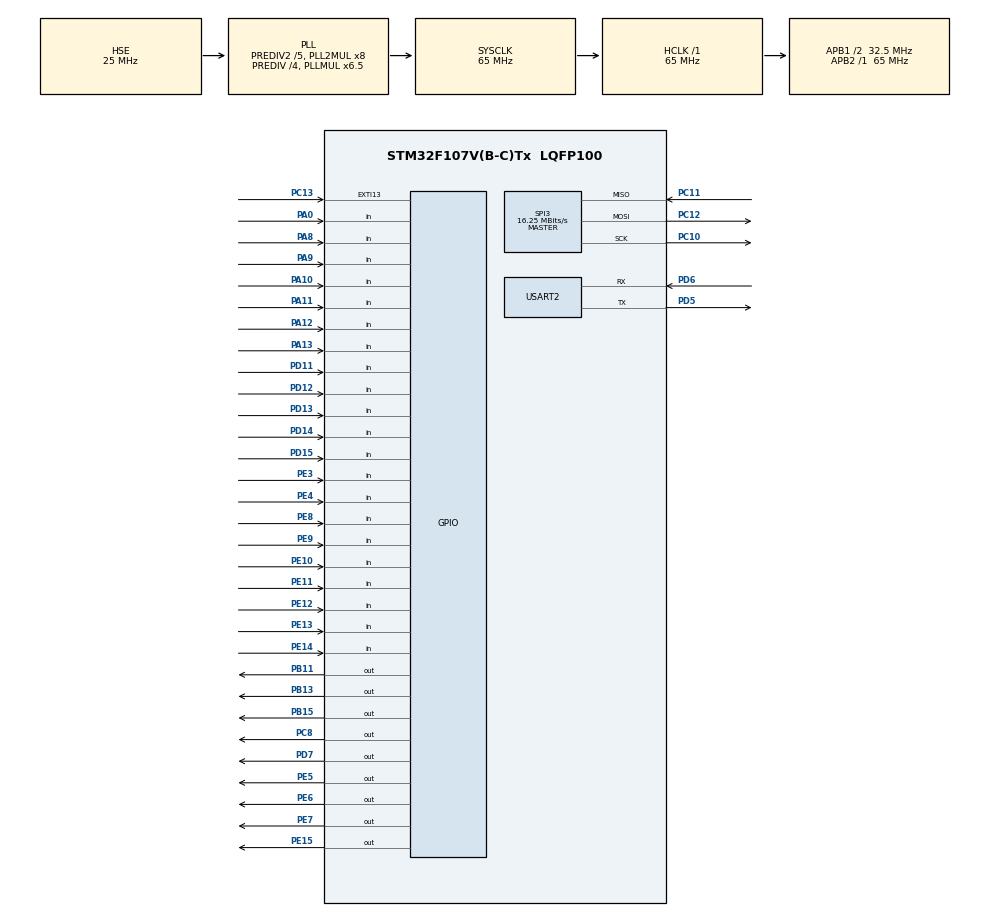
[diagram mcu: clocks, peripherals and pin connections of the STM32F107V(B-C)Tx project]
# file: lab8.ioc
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Mcu.Family=STM32F1
Mcu.Name=STM32F107V(B-C)Tx
Mcu.Package=LQFP100
NVIC.PriorityGroup=NVIC_PRIORITYGROUP_4
NVIC.TIM1_UP_IRQn=true\:1\:0\:true\:false\:true\:true
NVIC.TIM2_IRQn=true\:2\:0\:true\:false\:true\:true
OSC_IN.Mode=HSE-External-Oscillator
OSC_IN.Signal=RCC_OSC_IN
OSC_OUT.Mode=HSE-External-Oscillator
OSC_OUT.Signal=RCC_OSC_OUT
PA0-WKUP.Signal=GPIO_Input
PA10.Signal=GPIO_Input
PA11.Signal=GPIO_Input
PA12.Signal=GPIO_Input
PA13.Signal=GPIO_Input
PA8.Signal=GPIO_Input
PA9.Signal=GPIO_Input
PB11.GPIO_Speed=GPIO_SPEED_FREQ_HIGH
PB11.Signal=GPIO_Output
PB13.GPIO_Speed=GPIO_SPEED_FREQ_HIGH
PB13.Signal=GPIO_Output
PB15.GPIO_Speed=GPIO_SPEED_FREQ_HIGH
PB15.Signal=GPIO_Output
PC10.Mode=Full_Duplex_Master
PC10.Signal=SPI3_SCK
PC11.Mode=Full_Duplex_Master
PC11.Signal=SPI3_MISO
PC12.Mode=Full_Duplex_Master
PC12.Signal=SPI3_MOSI
PC13-TAMPER-RTC.Signal=GPXTI13
PC8.Signal=GPIO_Output
PD11.Signal=GPIO_Input
PD12.Signal=GPIO_Input
PD13.Signal=GPIO_Input
PD14.Signal=GPIO_Input
PD15.Signal=GPIO_Input
PD5.Mode=Asynchronous
PD5.Signal=USART2_TX
PD6.Mode=Asynchronous
PD6.Signal=USART2_RX
PD7.Signal=GPIO_Output
PE10.Signal=GPIO_Input
PE11.Signal=GPIO_Input
PE12.Signal=GPIO_Input
PE13.Signal=GPIO_Input
PE14.Signal=GPIO_Input
PE15.Signal=GPIO_Output
PE3.Signal=GPIO_Input
PE4.Signal=GPIO_Input
PE5.Signal=GPIO_Output
PE6.Signal=GPIO_Output
PE7.Signal=GPIO_Output
PE8.Signal=GPIO_Input
PE9.Signal=GPIO_Input
ProjectManager.HeapSize=0x200
ProjectManager.StackSize=0x400
ProjectManager.TargetToolchain=MDK-ARM V5
RCC.AHBFreq_Value=65000000
RCC.APB1CLKDivider=RCC_HCLK_DIV2
RCC.APB1Freq_Value=32500000
RCC.APB1TimFreq_Value=65000000
RCC.APB2Freq_Value=65000000
RCC.APB2TimFreq_Value=65000000
RCC.HCLKFreq_Value=65000000
RCC.HSEDivPLL=RCC_HSE_PREDIV_DIV4
RCC.HSE_VALUE=25000000
RCC.PLLMUL=RCC_PLL_MUL6_5
RCC.PLLSourceVirtual=RCC_PLLSOURCE_HSE
RCC.Prediv1Source=RCC_PREDIV1_SOURCE_PLL2
RCC.Prediv2=RCC_HSE_PREDIV2_DIV5
RCC.SYSCLKFreq_VALUE=65000000
RCC.SYSCLKSource=RCC_SYSCLKSOURCE_PLLCLK
RCC.USBFreq_Value=43333333.333333336
SPI3.CLKPhase=SPI_PHASE_2EDGE
SPI3.CLKPolarity=SPI_POLARITY_HIGH
SPI3.CalculateBaudRate=16.25 MBits/s
SPI3.Direction=SPI_DIRECTION_2LINES
SPI3.Mode=SPI_MODE_MASTER
SPI3.VirtualType=VM_MASTER
TIM1.Period=10000-1
TIM1.Prescaler=6500-1
TIM2.Period=10000-1
TIM2.Prescaler=7200-1
USART2.VirtualMode=VM_ASYNC
VP_SYS_VS_ND.Mode=No_Debug
VP_TIM1_VS_ClockSourceINT.Mode=Internal
VP_TIM2_VS_ClockSourceINT.Mode=Internal
board=lab8

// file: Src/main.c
/**
  ******************************************************************************
  * File Name          : main.c
  * Description        : Main program body
  ******************************************************************************
  ** This notice applies to any and all portions of this file
  * that are not between comment pairs USER CODE BEGIN and
  * USER CODE END. Other portions of this file, whether
  * inserted by the user or by software development tools
  * are owned by their respective copyright owners.
  *
  * COPYRIGHT(c) 2018 STMicroelectronics
  *
  * Redistribution and use in source and binary forms, with or without modification,
  * are permitted provided that the following conditions are met:
  *   1. Redistributions of source code must retain the above copyright notice,
  *      this list of conditions and the following disclaimer.
  *   2. Redistributions in binary form must reproduce the above copyright notice,
  *      this list of conditions and the following disclaimer in the documentation
  *      and/or other materials provided with the distribution.
  *   3. Neither the name of STMicroelectronics nor the names of its contributors
  *      may be used to endorse or promote products derived from this software
  *      without specific prior written permission.
  *
  * THIS SOFTWARE IS PROVIDED BY THE COPYRIGHT HOLDERS AND CONTRIBUTORS "AS IS"
  * AND ANY EXPRESS OR IMPLIED WARRANTIES, INCLUDING, BUT NOT LIMITED TO, THE
  * IMPLIED WARRANTIES OF MERCHANTABILITY AND FITNESS FOR A PARTICULAR PURPOSE ARE
  * DISCLAIMED. IN NO EVENT SHALL THE COPYRIGHT HOLDER OR CONTRIBUTORS BE LIABLE
  * FOR ANY DIRECT, INDIRECT, INCIDENTAL, SPECIAL, EXEMPLARY, OR CONSEQUENTIAL
  * DAMAGES (INCLUDING, BUT NOT LIMITED TO, PROCUREMENT OF SUBSTITUTE GOODS OR
  * SERVICES; LOSS OF USE, DATA, OR PROFITS; OR BUSINESS INTERRUPTION) HOWEVER
  * CAUSED AND ON ANY THEORY OF LIABILITY, WHETHER IN CONTRACT, STRICT LIABILITY,
  * OR TORT (INCLUDING NEGLIGENCE OR OTHERWISE) ARISING IN ANY WAY OUT OF THE USE
  * OF THIS SOFTWARE, EVEN IF ADVISED OF THE POSSIBILITY OF SUCH DAMAGE.
  *
  ******************************************************************************
  */

#include "main.h"
#include "stm32f1xx_hal.h"

/* USER CODE BEGIN Includes */
#include "et_stm32f_arm_kit_lcd.h"
#include <string.h>
/* USER CODE END Includes */

SPI_HandleTypeDef hspi3;

TIM_HandleTypeDef htim1;
TIM_HandleTypeDef htim2;

UART_HandleTypeDef huart2;

/* USER CODE BEGIN PV */
/* Private variables ---------------------------------------------------------*/
#define White 0xFFFF
#define Black 0x0000
#define Grey 0xF7DE
#define Grey2 0x8410
#define Grey3 0xCE79
#define Blue 0x001F
#define Blue2 0x051F
#define Blue3 0x041F
#define Blue4 0x07DFF
#define Red 0xF800
#define Magenta 0xF81F
#define Green 0x07E0
#define Green2 0x87F0
#define Cyan 0x7FFF
#define Yellow 0xFFE0
#define Yellow2 0xFFF0
#define Pink2 0xF810
#define Pink 0xFD5A
#define Purple 0xFC1F
#define Purple2 0xF81F
#define Orange 0xFC64
#define Orange2 0xFD62

//  void LCD_DrawFullFrame(uint8_t Xpos, uint16_t Ypos, uint8_t Height, uint16_t Width)

/* USER CODE END PV */

void SystemClock_Config(void);
static void MX_GPIO_Init(void);
static void MX_SPI3_Init(void);
static void MX_USART2_UART_Init(void);
static void MX_TIM1_Init(void);
static void MX_TIM2_Init(void);

/* USER CODE BEGIN PFP */
/* Private function prototypes -----------------------------------------------*/

/* USER CODE END PFP */

/* USER CODE BEGIN 0 */
uint32_t count;
uint16_t posX, posY;
char pos[50];
int x=0;
int y=1;
void DrawBomb(int Xpos,int Ypos);
void DrawKite(int Xpos,int Ypos);
void Draw0(int Xpos,int Ypos);
void Draw1(int Xpos,int Ypos);
void Draw2(int Xpos,int Ypos);
void Draw3(int Xpos,int Ypos);
void Draw4(int Xpos,int Ypos);
void Draw5(int Xpos,int Ypos);
void Draw6(int Xpos,int Ypos);
void Draw7(int Xpos,int Ypos);
void Draw8(int Xpos,int Ypos);
void Draw9(int Xpos,int Ypos);
void DrawFlag(int Xpos,int Ypos);
void Menu();
void Win();
void Lose();
//void DrawX(int Xpos,int Ypos,uint16_t color);
//void DrawShip(int Xpos,int Ypos,int numShip);
/* USER CODE END 0 */

int main(void)
{

  /* MCU Configuration----------------------------------------------------------*/

  /* Reset of all peripherals, Initializes the Flash interface and the Systick. */
  HAL_Init();

  /* Configure the system clock */
  SystemClock_Config();

  /* Initialize all configured peripherals */
  MX_GPIO_Init();
  MX_SPI3_Init();
  MX_USART2_UART_Init();
  MX_TIM1_Init();
  MX_TIM2_Init();

  /* USER CODE BEGIN 2 */

LCD_Setup();
//LCD_Clear(Blue2);
LCD_SetBackColor(Blue);
LCD_SetTextColor(Yellow);
//HAL_TIM_Base_Start_IT (&htim1);

  /* USER CODE END 2 */

  /* Infinite loop */
  while (1)
  {

  /* USER CODE BEGIN 3 */

	if((HAL_GPIO_ReadPin(GPIOE,GPIO_PIN_8) == GPIO_PIN_RESET)&&(HAL_GPIO_ReadPin(GPIOE,GPIO_PIN_9) == GPIO_PIN_RESET)) //State 0
	{  int ToDo=0;
		//Menu();
		if(HAL_GPIO_ReadPin(GPIOE,GPIO_PIN_10)==GPIO_PIN_SET)
			ToDo+=1;
		if(HAL_GPIO_ReadPin(GPIOE,GPIO_PIN_11)==GPIO_PIN_SET)
			ToDo+=2;
		if(HAL_GPIO_ReadPin(GPIOE,GPIO_PIN_12)==GPIO_PIN_SET)
			ToDo+=4;
		if(HAL_GPIO_ReadPin(GPIOE,GPIO_PIN_13)==GPIO_PIN_SET)
			ToDo+=8;
		if(HAL_GPIO_ReadPin(GPIOE,GPIO_PIN_14)==GPIO_PIN_SET)
			ToDo+=16;

		if(ToDo==1)
    {
		LCD_Clear(White);
			/*
		char ch[13] =  " MINESWEEPER " ;
		for (int j=0;j<13;j++)
		{LCD_SetBackColor(White);
      LCD_SetTextColor(Red);
			LCD_DisplayChar(Line3,16*(4+j),ch[12-j]);}
		char ch2[13] = "  -- GAME -- ";
		for (int j=0;j<13;j++)
			{LCD_SetBackColor(White);
      LCD_SetTextColor(Red);
			LCD_DisplayChar(Line4,16*(4+j),ch2[12-j]);}
			*/
			LCD_SetBackColor(Red);
      LCD_SetTextColor(Red);
			Menu();
			while(HAL_GPIO_ReadPin(GPIOE,GPIO_PIN_10)==1)
			{		char ch[15] = "PRESS JOY STICK";
		      for (int j=0;j<15;j++)
			    {LCD_SetBackColor(White);
          LCD_SetTextColor(Black);
			    LCD_DisplayChar(214,16*(3+j)+8,ch[14-j]);}
	      	for (int j=0;j<15;j++)
			    {LCD_SetBackColor(White);
           LCD_SetTextColor(Red);
			     LCD_DisplayChar(214,16*(3+j)+8,ch[14-j]);}

				 }

		}
		if(ToDo==2)
    {
			LCD_Clear(Blue2);
		char ch[13] =  " Select mode " ;
		for (int j=0;j<13;j++)
		{LCD_SetBackColor(White);
      LCD_SetTextColor(Red);
			LCD_DisplayChar(Line1,16*(4+j),ch[12-j]);}

			LCD_SetBackColor(Yellow);
			LCD_SetTextColor(Yellow);
			LCD_DrawFullRect(2*40, 8*40, 320, 40);
		char ch2[13] = " Easy - Left ";
		for (int j=0;j<13;j++)
			{LCD_SetBackColor(Yellow);
      LCD_SetTextColor(Black);
			LCD_DisplayChar(90,16*(8+j),ch2[12-j]);}
			DrawBomb(2,3);
			Draw7(2,1);

			LCD_SetBackColor(Green2);
			LCD_SetTextColor(Green2);
			LCD_DrawFullRect(3*40, 8*40, 320, 40);
    char ch3[13] = " Medium - Up ";
		for (int j=0;j<13;j++)
			{LCD_SetBackColor(Green2);
      LCD_SetTextColor(Black);
			LCD_DisplayChar(130,16*(8+j),ch3[12-j]);}
			DrawBomb(3,3);
			Draw0(3,1);
			Draw1(3,2);

			LCD_SetBackColor(Red);
			LCD_SetTextColor(Red);
			LCD_DrawFullRect(4*40, 8*40, 320, 40);
    char ch4[13] = " Hard -Right ";
		for (int j=0;j<13;j++)
			{LCD_SetBackColor(Red);
      LCD_SetTextColor(White);
			LCD_DisplayChar(170,16*(8+j),ch4[12-j]);}
		DrawBomb(4,3);
			Draw5(4,1);
			Draw1(4,2);
		int level=0;

		while(1)
			{

		if (HAL_GPIO_ReadPin(GPIOE,GPIO_PIN_12)==1&&HAL_GPIO_ReadPin(GPIOE,GPIO_PIN_13)==0&&HAL_GPIO_ReadPin(GPIOE,GPIO_PIN_14)==0)
				{ level =1;
				break;}
		else if (HAL_GPIO_ReadPin(GPIOE,GPIO_PIN_12)==0&&HAL_GPIO_ReadPin(GPIOE,GPIO_PIN_13)==1&&HAL_GPIO_ReadPin(GPIOE,GPIO_PIN_14)==0)
				{ level =2;
				break;}
		else if (HAL_GPIO_ReadPin(GPIOE,GPIO_PIN_12)==0&&HAL_GPIO_ReadPin(GPIOE,GPIO_PIN_13)==0&&HAL_GPIO_ReadPin(GPIOE,GPIO_PIN_14)==1)
				{level =3;
				break;}
		if(HAL_GPIO_ReadPin(GPIOE,GPIO_PIN_10)==1&&HAL_GPIO_ReadPin(GPIOE,GPIO_PIN_9)==0)
			{	break;}

			}

		while(HAL_GPIO_ReadPin(GPIOE,GPIO_PIN_9)==0&&HAL_GPIO_ReadPin(GPIOE,GPIO_PIN_10)==0)
			{			}

		if (HAL_GPIO_ReadPin(GPIOE,GPIO_PIN_9)==1&&HAL_GPIO_ReadPin(GPIOE,GPIO_PIN_8)==0)
		{
		 LCD_Clear(Blue2);
		 for (int i = 0; i<6; i++)
		 {
			for (int j=1; j<7; j++)
			{

				LCD_SetBackColor(Grey);
				LCD_SetTextColor(Grey2);
				LCD_DrawFullRect(i*40, j*40, 40, 40);
				LCD_SetBackColor(Grey2);
			  LCD_SetTextColor(Grey2);
		  	LCD_DrawFullFrame(i*40+1,j*40-1,38,38);
				LCD_SetBackColor(Grey);
				LCD_SetTextColor(Grey2);
				LCD_DrawFullRect(i*40+6, j*40-6, 28, 28);
			}
		 }
     DrawBomb(1,7);
		 LCD_SetBackColor(White);
		 LCD_SetTextColor(Blue3);
		 LCD_DrawFullRect(2*40, 8*40, 80, 40);

		 if (level==1)
		 {Draw7(2,7);}
		 else if (level==2)
		 {Draw0(2,7);
		  Draw1(2,8);}
		 else if (level==3)
		 {Draw5(2,7);
		  Draw1(2,8);}
	  }

	 }
	}

	if((HAL_GPIO_ReadPin(GPIOE,GPIO_PIN_8) == GPIO_PIN_RESET)&&(HAL_GPIO_ReadPin(GPIOE,GPIO_PIN_9) == GPIO_PIN_SET))
	{

		int x=0,y=0,ToDo=0;

		//                   get x,y,ToDo
		if(HAL_GPIO_ReadPin(GPIOA,GPIO_PIN_8)==GPIO_PIN_SET)
			x+=1;
		if(HAL_GPIO_ReadPin(GPIOA,GPIO_PIN_9)==GPIO_PIN_SET)
			x+=2;
		if(HAL_GPIO_ReadPin(GPIOA,GPIO_PIN_10)==GPIO_PIN_SET)
			x+=4;
		if(HAL_GPIO_ReadPin(GPIOA,GPIO_PIN_11)==GPIO_PIN_SET)
			y+=1;
		if(HAL_GPIO_ReadPin(GPIOA,GPIO_PIN_12)==GPIO_PIN_SET)
			y+=2;
		if(HAL_GPIO_ReadPin(GPIOA,GPIO_PIN_13)==GPIO_PIN_SET)
			y+=4;
		if(HAL_GPIO_ReadPin(GPIOE,GPIO_PIN_10)==GPIO_PIN_SET)
			ToDo+=1;
		if(HAL_GPIO_ReadPin(GPIOE,GPIO_PIN_11)==GPIO_PIN_SET)
			ToDo+=2;
		if(HAL_GPIO_ReadPin(GPIOE,GPIO_PIN_12)==GPIO_PIN_SET)
			ToDo+=4;
		if(HAL_GPIO_ReadPin(GPIOE,GPIO_PIN_13)==GPIO_PIN_SET)
			ToDo+=8;
		if(HAL_GPIO_ReadPin(GPIOE,GPIO_PIN_14)==GPIO_PIN_SET)
			ToDo+=16;

		int temp =0;
		temp = x ;
		x = y ;
		y = 5-temp + 1;
		// test
		/*
		ToDo = 14;
		x=0;
		y=2;
		*/

		//										play
		if(ToDo==0)
		{

		//Space normal
				LCD_SetBackColor(Grey);
				LCD_SetTextColor(Grey2);
				LCD_DrawFullRect(x*40, y*40, 40, 40);
				LCD_SetBackColor(Grey2);
			  LCD_SetTextColor(Grey2);
		  	LCD_DrawFullFrame(x*40+1,y*40-1,38,38);
				LCD_SetBackColor(Grey);
				LCD_SetTextColor(Grey2);
				LCD_DrawFullRect(x*40+6, y*40-6, 28, 28);

	 }
		else if(ToDo==1)
		{
			//DrawSpace
			LCD_SetBackColor(Grey3);
			LCD_SetTextColor(Grey2);
			LCD_DrawFullRect(x*40+4, y*40-4, 32, 32);

		}
		else if(ToDo==2)
		{
			LCD_SetBackColor(Grey3);
			LCD_SetTextColor(Grey2);
			LCD_DrawFullRect(x*40+4, y*40-4, 32, 32);
			Draw0(x, y);
		}
		else if(ToDo==3)
		{
			LCD_SetBackColor(Grey3);
			LCD_SetTextColor(Grey2);
			LCD_DrawFullRect(x*40+4, y*40-4, 32, 32);
			Draw1(x, y);
		}
		else if(ToDo==4)
		{
			LCD_SetBackColor(Grey3);
			LCD_SetTextColor(Grey2);
			LCD_DrawFullRect(x*40+4, y*40-4, 32, 32);
			Draw2(x, y);
		}
		else if(ToDo==5)
		{
			LCD_SetBackColor(Grey3);
			LCD_SetTextColor(Grey2);
			LCD_DrawFullRect(x*40+4, y*40-4, 32, 32);
			Draw3(x, y);
		}
		else if(ToDo==6)
		{
			LCD_SetBackColor(Grey3);
			LCD_SetTextColor(Grey2);
			LCD_DrawFullRect(x*40+4, y*40-4, 32, 32);
			Draw4(x, y);
		}
		else if(ToDo==7)
		{
			LCD_SetBackColor(Grey3);
			LCD_SetTextColor(Grey2);
			LCD_DrawFullRect(x*40+4, y*40-4, 32, 32);
			Draw5(x, y);
		}
		else if(ToDo==8)
		{
			LCD_SetBackColor(Grey3);
			LCD_SetTextColor(Grey2);
			LCD_DrawFullRect(x*40+4, y*40-4, 32, 32);
			Draw6(x, y);
		}
		else if(ToDo==9)
		{
			LCD_SetBackColor(Grey3);
			LCD_SetTextColor(Grey2);
			LCD_DrawFullRect(x*40+4, y*40-4, 32, 32);
			Draw7(x, y);
		}
		else if(ToDo==10)
		{
			LCD_SetBackColor(Grey3);
			LCD_SetTextColor(Grey2);
			LCD_DrawFullRect(x*40+4, y*40-4, 32, 32);
			Draw8(x, y);
		}
		else if(ToDo==11)
		{
			LCD_SetBackColor(Grey3);
			LCD_SetTextColor(Grey2);
			LCD_DrawFullRect(x*40+4, y*40-4, 32, 32);
			Draw9(x, y);
		}

		else if(ToDo==12)
		{
			//Draw target
			LCD_SetBackColor(Red);
			LCD_SetTextColor(Red);
			LCD_DrawFullFrame(x*40+1,y*40-1,38,38);

		}
		else if(ToDo==13)
		{
			//delete target
			LCD_SetBackColor(Grey2);
			LCD_SetTextColor(Grey2);
			LCD_DrawFullFrame(x*40+1,y*40-1,38,38);
		}
		else if(ToDo==14)
		{
			// Flag
			DrawFlag(x, y);

		}
		else if(ToDo==15)
		{
			//Draw Bomb
			LCD_SetBackColor(Grey3);
			LCD_SetTextColor(Grey2);
			LCD_DrawFullRect(x*40, y*40, 40, 40);
			DrawBomb(x,y);
		}
		else if(ToDo==16)
		{
			//drawBomb red
			LCD_SetBackColor(Red);
			LCD_SetTextColor(Grey2);
			LCD_DrawFullRect(x*40, y*40, 40, 40);
			DrawBomb(x,y);
		}
		else if(ToDo==30)
		{ /*
			//num flag

				LCD_SetBackColor(White);
				LCD_SetTextColor(Blue3);
				LCD_DrawFullRect(3*40, 8*40, 80, 40);

			int num=0;
			//print num
			if(HAL_GPIO_ReadPin(GPIOA,GPIO_PIN_8)==GPIO_PIN_SET)
			num+=1;
		  if(HAL_GPIO_ReadPin(GPIOA,GPIO_PIN_9)==GPIO_PIN_SET)
			num+=2;
		  if(HAL_GPIO_ReadPin(GPIOA,GPIO_PIN_10)==GPIO_PIN_SET)
			num+=4;
			if(HAL_GPIO_ReadPin(GPIOA,GPIO_PIN_11)==GPIO_PIN_SET)
			num+=8;

			if (num/10==1)
			{
			  Draw1(3,8);
			}
			else
			{ Draw0(3,8);}
			num%=10;
			if (num==0)
			{ Draw0(3,7);}
			else if (num==1)
			{ Draw1(3,7);}
			else if (num==2)
			{ Draw2(3,7);}
			else if (num==3)
			{ Draw3(3,7);}
			else if (num==4)
			{ Draw4(3,7);}
			else if (num==5)
			{ Draw5(3,7);}
			else if (num==6)
			{ Draw6(3,7);}
			else if (num==7)
			{ Draw7(3,7);}
			else if (num==8)
			{ Draw8(3,7);}
			else if (num==9)
			{ Draw9(3,7);}

			*/
		}

	}
	if((HAL_GPIO_ReadPin(GPIOE,GPIO_PIN_8) == GPIO_PIN_SET)&&(HAL_GPIO_ReadPin(GPIOE,GPIO_PIN_9) == GPIO_PIN_RESET))
	{
		if(HAL_GPIO_ReadPin(GPIOE,GPIO_PIN_10) == 1)
		{
			LCD_SetBackColor(Red);
				LCD_SetTextColor(White);
			LCD_DisplayStringLine(Line1,"        You Lose    ");
		  Lose();
			while((HAL_GPIO_ReadPin(GPIOE,GPIO_PIN_8) == GPIO_PIN_SET)&&(HAL_GPIO_ReadPin(GPIOE,GPIO_PIN_9) == GPIO_PIN_RESET))
		{}
		}
		else if(HAL_GPIO_ReadPin(GPIOE,GPIO_PIN_10) == 0)
		{
			LCD_SetBackColor(Green);
				LCD_SetTextColor(Black);
			LCD_DisplayStringLine(Line1,"        You Win     ");
		Win();
		}
		while((HAL_GPIO_ReadPin(GPIOE,GPIO_PIN_8) == GPIO_PIN_SET)&&(HAL_GPIO_ReadPin(GPIOE,GPIO_PIN_9) == GPIO_PIN_RESET))
		{}

	}
  /*char str[20];
	sprintf(str,"\r%02d",input);
	LCD_SetBackColor(White);
	LCD_SetTextColor(Black);
  LCD_DisplayStringLine(Line4,str);
  HAL_Delay(50);*/

  }
  /* USER CODE END 3 */

}

/** System Clock Configuration
*/
void SystemClock_Config(void)
{

  RCC_OscInitTypeDef RCC_OscInitStruct;
  RCC_ClkInitTypeDef RCC_ClkInitStruct;

    /**Initializes the CPU, AHB and APB busses clocks
    */
  RCC_OscInitStruct.OscillatorType = RCC_OSCILLATORTYPE_HSE;
  RCC_OscInitStruct.HSEState = RCC_HSE_ON;
  RCC_OscInitStruct.HSEPredivValue = RCC_HSE_PREDIV_DIV4;
  RCC_OscInitStruct.HSIState = RCC_HSI_ON;
  RCC_OscInitStruct.Prediv1Source = RCC_PREDIV1_SOURCE_PLL2;
  RCC_OscInitStruct.PLL.PLLState = RCC_PLL_ON;
  RCC_OscInitStruct.PLL.PLLSource = RCC_PLLSOURCE_HSE;
  RCC_OscInitStruct.PLL.PLLMUL = RCC_PLL_MUL6_5;
  RCC_OscInitStruct.PLL2.PLL2State = RCC_PLL2_ON;
  RCC_OscInitStruct.PLL2.PLL2MUL = RCC_PLL2_MUL8;
  RCC_OscInitStruct.PLL2.HSEPrediv2Value = RCC_HSE_PREDIV2_DIV5;
  if (HAL_RCC_OscConfig(&RCC_OscInitStruct) != HAL_OK)
  {
    _Error_Handler(__FILE__, __LINE__);
  }

    /**Initializes the CPU, AHB and APB busses clocks
    */
  RCC_ClkInitStruct.ClockType = RCC_CLOCKTYPE_HCLK|RCC_CLOCKTYPE_SYSCLK
                              |RCC_CLOCKTYPE_PCLK1|RCC_CLOCKTYPE_PCLK2;
  RCC_ClkInitStruct.SYSCLKSource = RCC_SYSCLKSOURCE_PLLCLK;
  RCC_ClkInitStruct.AHBCLKDivider = RCC_SYSCLK_DIV1;
  RCC_ClkInitStruct.APB1CLKDivider = RCC_HCLK_DIV2;
  RCC_ClkInitStruct.APB2CLKDivider = RCC_HCLK_DIV1;

  if (HAL_RCC_ClockConfig(&RCC_ClkInitStruct, FLASH_LATENCY_2) != HAL_OK)
  {
    _Error_Handler(__FILE__, __LINE__);
  }

    /**Configure the Systick interrupt time
    */
  HAL_SYSTICK_Config(HAL_RCC_GetHCLKFreq()/1000);

    /**Configure the Systick
    */
  HAL_SYSTICK_CLKSourceConfig(SYSTICK_CLKSOURCE_HCLK);

    /**Configure the Systick interrupt time
    */
  __HAL_RCC_PLLI2S_ENABLE();

  /* SysTick_IRQn interrupt configuration */
  HAL_NVIC_SetPriority(SysTick_IRQn, 0, 0);
}

/* SPI3 init function */
static void MX_SPI3_Init(void)
{

  /* SPI3 parameter configuration*/
  hspi3.Instance = SPI3;
  hspi3.Init.Mode = SPI_MODE_MASTER;
  hspi3.Init.Direction = SPI_DIRECTION_2LINES;
  hspi3.Init.DataSize = SPI_DATASIZE_8BIT;
  hspi3.Init.CLKPolarity = SPI_POLARITY_HIGH;
  hspi3.Init.CLKPhase = SPI_PHASE_2EDGE;
  hspi3.Init.NSS = SPI_NSS_SOFT;
  hspi3.Init.BaudRatePrescaler = SPI_BAUDRATEPRESCALER_2;
  hspi3.Init.FirstBit = SPI_FIRSTBIT_MSB;
  hspi3.Init.TIMode = SPI_TIMODE_DISABLE;
  hspi3.Init.CRCCalculation = SPI_CRCCALCULATION_DISABLE;
  hspi3.Init.CRCPolynomial = 10;
  if (HAL_SPI_Init(&hspi3) != HAL_OK)
  {
    _Error_Handler(__FILE__, __LINE__);
  }

}

/* TIM1 init function */
static void MX_TIM1_Init(void)
{

  TIM_ClockConfigTypeDef sClockSourceConfig;
  TIM_MasterConfigTypeDef sMasterConfig;

  htim1.Instance = TIM1;
  htim1.Init.Prescaler = 6500-1;
  htim1.Init.CounterMode = TIM_COUNTERMODE_UP;
  htim1.Init.Period = 10000-1;
  htim1.Init.ClockDivision = TIM_CLOCKDIVISION_DIV1;
  htim1.Init.RepetitionCounter = 0;
  htim1.Init.AutoReloadPreload = TIM_AUTORELOAD_PRELOAD_DISABLE;
  if (HAL_TIM_Base_Init(&htim1) != HAL_OK)
  {
    _Error_Handler(__FILE__, __LINE__);
  }

  sClockSourceConfig.ClockSource = TIM_CLOCKSOURCE_INTERNAL;
  if (HAL_TIM_ConfigClockSource(&htim1, &sClockSourceConfig) != HAL_OK)
  {
    _Error_Handler(__FILE__, __LINE__);
  }

  sMasterConfig.MasterOutputTrigger = TIM_TRGO_RESET;
  sMasterConfig.MasterSlaveMode = TIM_MASTERSLAVEMODE_DISABLE;
  if (HAL_TIMEx_MasterConfigSynchronization(&htim1, &sMasterConfig) != HAL_OK)
  {
    _Error_Handler(__FILE__, __LINE__);
  }

}

/* TIM2 init function */
static void MX_TIM2_Init(void)
{

  TIM_ClockConfigTypeDef sClockSourceConfig;
  TIM_MasterConfigTypeDef sMasterConfig;

  htim2.Instance = TIM2;
  htim2.Init.Prescaler = 7200-1;
  htim2.Init.CounterMode = TIM_COUNTERMODE_UP;
  htim2.Init.Period = 10000-1;
  htim2.Init.ClockDivision = TIM_CLOCKDIVISION_DIV1;
  htim2.Init.AutoReloadPreload = TIM_AUTORELOAD_PRELOAD_DISABLE;
  if (HAL_TIM_Base_Init(&htim2) != HAL_OK)
  {
    _Error_Handler(__FILE__, __LINE__);
  }

  sClockSourceConfig.ClockSource = TIM_CLOCKSOURCE_INTERNAL;
  if (HAL_TIM_ConfigClockSource(&htim2, &sClockSourceConfig) != HAL_OK)
  {
    _Error_Handler(__FILE__, __LINE__);
  }

  sMasterConfig.MasterOutputTrigger = TIM_TRGO_RESET;
  sMasterConfig.MasterSlaveMode = TIM_MASTERSLAVEMODE_DISABLE;
  if (HAL_TIMEx_MasterConfigSynchronization(&htim2, &sMasterConfig) != HAL_OK)
  {
    _Error_Handler(__FILE__, __LINE__);
  }

}

/* USART2 init function */
static void MX_USART2_UART_Init(void)
{

  huart2.Instance = USART2;
  huart2.Init.BaudRate = 115200;
  huart2.Init.WordLength = UART_WORDLENGTH_8B;
  huart2.Init.StopBits = UART_STOPBITS_1;
  huart2.Init.Parity = UART_PARITY_NONE;
  huart2.Init.Mode = UART_MODE_TX_RX;
  huart2.Init.HwFlowCtl = UART_HWCONTROL_NONE;
  huart2.Init.OverSampling = UART_OVERSAMPLING_16;
  if (HAL_UART_Init(&huart2) != HAL_OK)
  {
    _Error_Handler(__FILE__, __LINE__);
  }

}

/** Configure pins as
        * Analog
        * Input
        * Output
        * EVENT_OUT
        * EXTI
*/
static void MX_GPIO_Init(void)
{

  GPIO_InitTypeDef GPIO_InitStruct;

  /* GPIO Ports Clock Enable */
  __HAL_RCC_GPIOE_CLK_ENABLE();
  __HAL_RCC_GPIOC_CLK_ENABLE();
  __HAL_RCC_GPIOA_CLK_ENABLE();
  __HAL_RCC_GPIOB_CLK_ENABLE();
  __HAL_RCC_GPIOD_CLK_ENABLE();

  /*Configure GPIO pin Output Level */
  HAL_GPIO_WritePin(GPIOE, GPIO_PIN_5|GPIO_PIN_6|GPIO_PIN_7|GPIO_PIN_15, GPIO_PIN_RESET);

  /*Configure GPIO pin Output Level */
  HAL_GPIO_WritePin(GPIOB, GPIO_PIN_11|GPIO_PIN_13|GPIO_PIN_15, GPIO_PIN_RESET);

  /*Configure GPIO pin Output Level */
  HAL_GPIO_WritePin(GPIOC, GPIO_PIN_8, GPIO_PIN_RESET);

  /*Configure GPIO pin Output Level */
  HAL_GPIO_WritePin(GPIOD, GPIO_PIN_7, GPIO_PIN_RESET);

  /*Configure GPIO pins : PE3 PE4 PE8 PE9
                           PE10 PE11 PE12 PE13
                           PE14 */
  GPIO_InitStruct.Pin = GPIO_PIN_3|GPIO_PIN_4|GPIO_PIN_8|GPIO_PIN_9
                          |GPIO_PIN_10|GPIO_PIN_11|GPIO_PIN_12|GPIO_PIN_13
                          |GPIO_PIN_14;
  GPIO_InitStruct.Mode = GPIO_MODE_INPUT;
  GPIO_InitStruct.Pull = GPIO_NOPULL;
  HAL_GPIO_Init(GPIOE, &GPIO_InitStruct);

  /*Configure GPIO pins : PE5 PE6 PE7 PE15 */
  GPIO_InitStruct.Pin = GPIO_PIN_5|GPIO_PIN_6|GPIO_PIN_7|GPIO_PIN_15;
  GPIO_InitStruct.Mode = GPIO_MODE_OUTPUT_PP;
  GPIO_InitStruct.Speed = GPIO_SPEED_FREQ_LOW;
  HAL_GPIO_Init(GPIOE, &GPIO_InitStruct);

  /*Configure GPIO pin : PC13 */
  GPIO_InitStruct.Pin = GPIO_PIN_13;
  GPIO_InitStruct.Mode = GPIO_MODE_IT_RISING;
  GPIO_InitStruct.Pull = GPIO_NOPULL;
  HAL_GPIO_Init(GPIOC, &GPIO_InitStruct);

  /*Configure GPIO pins : PA0 PA8 PA9 PA10
                           PA11 PA12 PA13 */
  GPIO_InitStruct.Pin = GPIO_PIN_0|GPIO_PIN_8|GPIO_PIN_9|GPIO_PIN_10
                          |GPIO_PIN_11|GPIO_PIN_12|GPIO_PIN_13;
  GPIO_InitStruct.Mode = GPIO_MODE_INPUT;
  GPIO_InitStruct.Pull = GPIO_NOPULL;
  HAL_GPIO_Init(GPIOA, &GPIO_InitStruct);

  /*Configure GPIO pins : PB11 PB13 PB15 */
  GPIO_InitStruct.Pin = GPIO_PIN_11|GPIO_PIN_13|GPIO_PIN_15;
  GPIO_InitStruct.Mode = GPIO_MODE_OUTPUT_PP;
  GPIO_InitStruct.Speed = GPIO_SPEED_FREQ_HIGH;
  HAL_GPIO_Init(GPIOB, &GPIO_InitStruct);

  /*Configure GPIO pins : PD11 PD12 PD13 PD14
                           PD15 */
  GPIO_InitStruct.Pin = GPIO_PIN_11|GPIO_PIN_12|GPIO_PIN_13|GPIO_PIN_14
                          |GPIO_PIN_15;
  GPIO_InitStruct.Mode = GPIO_MODE_INPUT;
  GPIO_InitStruct.Pull = GPIO_NOPULL;
  HAL_GPIO_Init(GPIOD, &GPIO_InitStruct);

  /*Configure GPIO pin : PC8 */
  GPIO_InitStruct.Pin = GPIO_PIN_8;
  GPIO_InitStruct.Mode = GPIO_MODE_OUTPUT_PP;
  GPIO_InitStruct.Speed = GPIO_SPEED_FREQ_LOW;
  HAL_GPIO_Init(GPIOC, &GPIO_InitStruct);

  /*Configure GPIO pin : PD7 */
  GPIO_InitStruct.Pin = GPIO_PIN_7;
  GPIO_InitStruct.Mode = GPIO_MODE_OUTPUT_PP;
  GPIO_InitStruct.Speed = GPIO_SPEED_FREQ_LOW;
  HAL_GPIO_Init(GPIOD, &GPIO_InitStruct);

}

/* USER CODE BEGIN 4 */
void DrawBomb(int x,int y)
{
	    int xb=(x*40)+5;
			int yb=(y*40)-5;

      LCD_SetBackColor(Black);
			LCD_SetTextColor(Black);
			LCD_DrawFullCircle((x+1)*40-20,y*40-20,10);

      LCD_SetBackColor(Black);
			LCD_SetTextColor(Black);
			LCD_DrawFullRect(xb+1, yb-13, 4, 4);
	    LCD_DrawFullRect(xb+13,yb-1 , 4, 4);
	    LCD_DrawFullRect(xb+25,yb-13, 4, 4);
		  LCD_DrawFullRect(xb+13, yb-26, 4, 4);

      DrawKite(xb+7, yb-23);
	    DrawKite(xb+7, yb-7);
	    DrawKite(xb+22, yb-23);
	    DrawKite(xb+22, yb-7);

	    LCD_SetBackColor(White);
			LCD_SetTextColor(Black);
			LCD_DrawFullCircle((x+1)*40-24,y*40-16,2);

}

void DrawKite(int x,int y)
{
	    LCD_SetBackColor(Black);
			LCD_SetTextColor(Black);
			LCD_DrawFullRect(x, y+1, 1, 1);
	    LCD_DrawFullRect(x, y+2, 1, 1);
	    LCD_DrawFullRect(x, y-1, 1, 1);
	    LCD_DrawFullRect(x, y-2, 1, 1);
	    LCD_DrawFullRect(x+1, y, 1, 1);
	    LCD_DrawFullRect(x+2, y, 1, 1);
	    LCD_DrawFullRect(x-1, y, 1, 1);
	    LCD_DrawFullRect(x-2, y, 1, 1);
	    LCD_DrawFullRect(x+1, y+1, 1, 1);
	    LCD_DrawFullRect(x+1, y-1, 1, 1);
	    LCD_DrawFullRect(x-1, y+1, 1, 1);
	    LCD_DrawFullRect(x-1, y-1, 1, 1);
}

void Draw0(int x,int y)
{
		  int xb=(x*40)+5;
			int yb=(y*40)-5;
	    LCD_SetBackColor(Pink);
			LCD_SetTextColor(Pink);
			LCD_DrawFullRect(xb+4, yb-7, 16, 4);
			LCD_DrawFullRect(xb+4, yb-7, 4, 22);
			LCD_DrawFullRect(xb+4, yb-19, 4, 22);
	    LCD_DrawFullRect(xb+22, yb-7, 16, 4);
}
void Draw1(int x,int y)
{
	    int xb=(x*40)+5;
			int yb=(y*40)-5;
		  LCD_SetBackColor(Blue3);
			LCD_SetTextColor(Blue3);
			LCD_DrawFullRect(	xb+4,yb-8,9,4);
			LCD_DrawFullRect(xb+8,yb-13,4,15);
			LCD_DrawFullRect(xb+23, yb-8, 14, 4);

}
void Draw2(int x,int y)
{
		  int xb=(x*40)+5;
			int yb=(y*40)-5;
	    LCD_SetBackColor(Green);
			LCD_SetTextColor(Green);
			LCD_DrawFullRect(xb+4, yb-7, 16, 4);
			LCD_DrawFullRect(xb+4, yb-19, 4, 13);
			LCD_DrawFullRect(xb+13, yb-7, 16, 4);
			LCD_DrawFullRect(xb+13, yb-7, 4, 13);
	    LCD_DrawFullRect(xb+22, yb-7, 16, 4);

}
void Draw3(int x,int y)
{
		  int xb=(x*40)+5;
			int yb=(y*40)-5;
	    LCD_SetBackColor(Red);
			LCD_SetTextColor(Red);
	    LCD_DrawFullRect(xb+4, yb-7, 16, 4);
			LCD_DrawFullRect(xb+4, yb-19, 4, 22);
			LCD_DrawFullRect(xb+13, yb-7, 16, 4);
			LCD_DrawFullRect(xb+22, yb-7, 16, 4);

}
void Draw4(int x,int y)
{
		  int xb=(x*40)+5;
			int yb=(y*40)-5;
		  LCD_SetBackColor(Blue);
			LCD_SetTextColor(Blue);
			LCD_DrawFullRect(xb+4, yb-7, 4, 14);
			LCD_DrawFullRect(xb+4, yb-16, 4, 24);
			LCD_DrawFullRect(xb+14, yb-7, 16, 4);

}
void Draw5(int x,int y)
{
		  int xb=(x*40)+5;
			int yb=(y*40)-5;
		  LCD_SetBackColor(Magenta);
			LCD_SetTextColor(Magenta);
			LCD_DrawFullRect(xb+4, yb-7, 16, 4);
			LCD_DrawFullRect(xb+4, yb-7, 4, 13);
			LCD_DrawFullRect(xb+13, yb-7, 16, 4);
			LCD_DrawFullRect(xb+13, yb-19, 4, 13);
	    LCD_DrawFullRect(xb+22, yb-7, 16, 4);
}
void Draw6(int x,int y)
{
		  int xb=(x*40)+5;
			int yb=(y*40)-5;
			LCD_SetBackColor(Cyan);
			LCD_SetTextColor(Cyan);
			LCD_DrawFullRect(xb+4, yb-7, 16, 4);
			LCD_DrawFullRect(xb+4, yb-7, 4, 22);
			LCD_DrawFullRect(xb+13, yb-7, 16, 4);
			LCD_DrawFullRect(xb+13, yb-19, 4, 13);
	    LCD_DrawFullRect(xb+22, yb-7, 16, 4);
}
void Draw7(int x,int y)
{
		  int xb=(x*40)+5;
			int yb=(y*40)-5;
			LCD_SetBackColor(Purple);
			LCD_SetTextColor(Purple);
			LCD_DrawFullRect(xb+4, yb-7, 16, 4);
			LCD_DrawFullRect(xb+4, yb-19, 4, 23);

}
void Draw8(int x,int y)
{
		  int xb=(x*40)+5;
			int yb=(y*40)-5;
			LCD_SetBackColor(Grey2);
			LCD_SetTextColor(Grey2);
			LCD_DrawFullRect(xb+4, yb-7, 16, 4);
			LCD_DrawFullRect(xb+4, yb-7, 4, 22);
			LCD_DrawFullRect(xb+13, yb-7, 16, 4);
			LCD_DrawFullRect(xb+4, yb-19, 4, 22);
	    LCD_DrawFullRect(xb+22, yb-7, 16, 4);
}

void Draw9(int x,int y)
{
		  int xb=(x*40)+5;
			int yb=(y*40)-5;
			LCD_SetBackColor(Orange);
			LCD_SetTextColor(Orange);
			LCD_DrawFullRect(xb+4, yb-7, 16, 4);
			LCD_DrawFullRect(xb+4, yb-7, 4, 13);
			LCD_DrawFullRect(xb+13, yb-7, 16, 4);
			LCD_DrawFullRect(xb+4, yb-19, 4, 22);
	    LCD_DrawFullRect(xb+22, yb-7, 16, 4);
}

void DrawFlag(int x,int y)
{
		  int xb=(x*40)+5;
			int yb=(y*40)-5;

      LCD_SetBackColor(Black);
	    LCD_SetTextColor(Black);
			LCD_DrawFullRect(xb+28, yb-6, 20, 2);
    	LCD_DrawFullRect(xb+26, yb-11, 14, 2);
	    LCD_DrawFullRect(xb+20, yb-19, 2, 5);

    	LCD_SetBackColor(Red);
	    LCD_SetTextColor(Red);
	    LCD_DrawFullRect(xb+3, yb-16, 6, 17);
	    LCD_DrawFullRect(xb+5, yb-13, 3, 13);
	    LCD_DrawFullRect(xb+8, yb-8, 5, 8);
	    LCD_DrawFullRect(xb+10, yb-5, 3, 4);

}

void Menu()
{ int x=30,y=330-20;
	//M
  LCD_DrawFullRect(x+10, y-10, 10, 50);
	int i = 0,j=0;
	while (10+i<=40&&20+j<=50)
	{
		LCD_SetBackColor(Red);
	  LCD_SetTextColor(Red);
	  LCD_DrawFullRect(x+10+i, y-10-j, 10,10);
		i++;
		j++;
	}
	i=0;
	j=0;
	while (x+50-i!=x+10&&y-40-j!=y-70)
	{
	LCD_DrawFullRect(x+40-i, y-40-j, 10, 10);
		i++;
		j++;
	}
	LCD_DrawFullRect(x+10, y-70, 10, 50);

	//I
	LCD_DrawFullRect(x+10, y-100, 30, 10);
	LCD_DrawFullRect(x+10, y-110, 10, 40);
	LCD_DrawFullRect(x+50, y-100, 30, 10);
	//N
	LCD_DrawFullRect(x+10, y-150, 10, 50);
	 i = 0,j=0;
	while (i!=40)
	{
		LCD_SetBackColor(Red);
	  LCD_SetTextColor(Red);
	  LCD_DrawFullRect(x+10+i, y-160-j, 10,10);
		i++;
		j++;
	}
	//LCD_DrawFullRect(x+10, y-160, 10, 20);
	//LCD_DrawFullRect(x+20, y-170, 10, 30);
	//LCD_DrawFullRect(x+40, y-180, 10, 20);
	LCD_DrawFullRect(x+10, y-200, 10, 50);
	//E
	LCD_DrawFullRect(x+10, y-220, 40, 10);
	LCD_DrawFullRect(x+10, y-220, 10, 50);
	LCD_DrawFullRect(x+30, y-220, 30, 10);
	LCD_DrawFullRect(x+50, y-220, 40, 10);

	y=310;
	//s
	LCD_DrawFullRect(x+70, y-10, 30, 10);
	LCD_DrawFullRect(x+70, y-10, 10, 30);
	LCD_DrawFullRect(x+90, y-10, 30, 10);
	LCD_DrawFullRect(x+90, y-30, 10, 40);
	LCD_DrawFullRect(x+120, y-10, 30, 10);

	//w
	LCD_DrawFullRect(x+70, y-50, 10, 60);
	LCD_DrawFullRect(x+120, y-50, 50, 10);
	LCD_DrawFullRect(x+100, y-70, 10, 30);
	LCD_DrawFullRect(x+70, y-90, 10, 60);

	//e
	LCD_DrawFullRect(x+70, y-110, 30, 10);
	LCD_DrawFullRect(x+70, y-110, 10, 60);
	LCD_DrawFullRect(x+90, y-110, 20, 10);
	LCD_DrawFullRect(x+120, y-110, 30, 10);

		//e
	LCD_DrawFullRect(x+70, y-150, 30, 10);
	LCD_DrawFullRect(x+70, y-150, 10, 60);
	LCD_DrawFullRect(x+90, y-150, 20, 10);
	LCD_DrawFullRect(x+120, y-150, 30, 10);

	//p
	LCD_DrawFullRect(x+70, y-190, 30, 10);
	LCD_DrawFullRect(x+70, y-190, 10, 60);
	LCD_DrawFullRect(x+70, y-210, 10, 40);
	LCD_DrawFullRect(x+100, y-190, 30, 10);

		//e
	LCD_DrawFullRect(x+70, y-230, 30, 10);
	LCD_DrawFullRect(x+70, y-230, 10, 60);
	LCD_DrawFullRect(x+90, y-230, 20, 10);
	LCD_DrawFullRect(x+120, y-230, 30, 10);

	//r
	LCD_DrawFullRect(x+70, y-270, 30, 10);
	LCD_DrawFullRect(x+70, y-270, 10, 60);
	LCD_DrawFullRect(x+70, y-290, 10, 40);
	LCD_DrawFullRect(x+100, y-270, 30, 10);
	LCD_DrawFullRect(x+110, y-280, 10, 10);
	for (int k=0; k<=10;k++)
	LCD_DrawFullRect(x+110+k, y-280-k, 10, 10);

	int xb=(1*40)+5+10;
	int yb=(1*40);

	//Flag
  LCD_SetBackColor(Black);
	LCD_SetTextColor(Black);
	LCD_DrawFullRect(xb+28, yb-6, 20, 2);
  LCD_DrawFullRect(xb+26, yb-11, 14, 2);
	LCD_DrawFullRect(xb+20, yb-19, 2, 5);
	LCD_SetBackColor(Red);
	LCD_SetTextColor(Red);
	LCD_DrawFullRect(xb+3, yb-16, 6, 17);
	LCD_DrawFullRect(xb+5, yb-13, 3, 13);
	LCD_DrawFullRect(xb+8, yb-8, 5, 8);
	LCD_DrawFullRect(xb+10, yb-5, 3, 4);

	DrawBomb(0,8);
	DrawBomb(0,7);
	DrawBomb(0,6);
	DrawBomb(0,5);
	DrawBomb(0,4);
	DrawBomb(0,3);
	DrawBomb(0,2);
	DrawBomb(0,1);
	DrawBomb(4,1);
	DrawBomb(4,2);
	DrawBomb(4,3);
	DrawBomb(4,4);
	DrawBomb(4,5);
	DrawBomb(4,6);
	DrawBomb(4,7);
	DrawBomb(4,8);

		char ch[15] = "PRESS JOY STICK";
		for (int j=0;j<15;j++)
			{LCD_SetBackColor(White);
      LCD_SetTextColor(Black);
			LCD_DisplayChar(214,16*(3+j)+8,ch[14-j]);}

	DrawFlag(5,1);
	DrawFlag(5,8);

}

void Win()
{
	int x =20;
	int y =320;
	    LCD_SetBackColor(Yellow);
			LCD_SetTextColor(Yellow);
			LCD_DrawFullCircle(x+115,y-160,50);
	    LCD_DrawFullCircle(x+80,y-160,40);
		  LCD_SetBackColor(Red);//mouth
			LCD_SetTextColor(Red);
	 		LCD_DrawFullCircle(x+110,y-160,30);
	    LCD_SetBackColor(Yellow);
			LCD_SetTextColor(Yellow);
	    LCD_DrawFullCircle(x+100,y-160,30);
	    LCD_SetBackColor(Yellow);
			LCD_SetTextColor(Yellow);
	    LCD_DrawFullRect(x+100, y-120,80,20);
	    //eyes
		    LCD_SetBackColor(Black);
			LCD_SetTextColor(Black);
	    //LCD_DrawFullCircle(x+90,y-150,5);
	    //LCD_DrawFullCircle(x+90,y-170,5);
	    LCD_DrawFullRect(x+80, y-125,30,20);
			LCD_DrawFullRect(x+80, y-165,30,20);
			LCD_DrawFullRect(x+85, y-140,30,5);
	for(int k=0;k<15;k++)
	{
	    LCD_DrawFullCircle(x+82+k,y-125+k,2);
	    LCD_DrawFullCircle(x+82+k,y-195-k,2);
  }
	//nose
			  LCD_SetBackColor(Orange);
			LCD_SetTextColor(Orange);
	for(int k=0;k<18;k++)
	{
	    LCD_DrawFullCircle(x+117,y-150-k,1);
  }

	  //hair
			  LCD_SetBackColor(Black);
			LCD_SetTextColor(Black);
	    LCD_DrawFullCircle(x+50,y-160,10);
	for(int k=0;k<15;k++)
	{

	    LCD_DrawFullCircle(x+50+k*2,y-145+k*2,15-k);
	    LCD_DrawFullCircle(x+50+k*2,y-175-k*2,15-k);
  }
	//while(1)
	//{}
}

void Lose()
{
	int x =20;
	int y =320;
	    LCD_SetBackColor(Yellow);
			LCD_SetTextColor(Yellow);
			LCD_DrawFullCircle(x+115,y-160,50);
	    LCD_DrawFullCircle(x+80,y-160,40);
		  LCD_SetBackColor(Red);//mouth
			LCD_SetTextColor(Red);
	 		LCD_DrawFullCircle(x+140,y-160,30);
	    LCD_SetBackColor(Yellow);
			LCD_SetTextColor(Yellow);
	    LCD_DrawFullCircle(x+150,y-160,30);
	    LCD_SetBackColor(Yellow);
			LCD_SetTextColor(Yellow);
	   // LCD_DrawFullRect(x+160, y-120,80,20);
	    //eyes
		  LCD_SetBackColor(Black);
			LCD_SetTextColor(Black);
	    LCD_DrawFullCircle(x+90,y-140,2);
	    LCD_DrawFullCircle(x+90,y-180,2);
		for(int k=0;k<10;k++)
	{
	    LCD_DrawFullCircle(x+90+k,y-140+k,2);
		  LCD_DrawFullCircle(x+90-k,y-140-k,2);
		  LCD_DrawFullCircle(x+90+k,y-140-k,2);
		  LCD_DrawFullCircle(x+90-k,y-140+k,2);
      LCD_DrawFullCircle(x+90+k,y-180+k,2);
		  LCD_DrawFullCircle(x+90-k,y-180-k,2);
		  LCD_DrawFullCircle(x+90+k,y-180-k,2);
		  LCD_DrawFullCircle(x+90-k,y-180+k,2);
  }

	  //hair
			  LCD_SetBackColor(Black);
			LCD_SetTextColor(Black);
	    LCD_DrawFullCircle(x+50,y-160,10);
	for(int k=0;k<15;k++)
	{

	    LCD_DrawFullCircle(x+50+k*2,y-145+k*2,15-k);
	    LCD_DrawFullCircle(x+50+k*2,y-175-k*2,15-k);
  }
	//while(1)
	//{}
}

/* USER CODE END 4 */

void _Error_Handler(char * file, int line)
{
  while(1)
  {
  }
}

/************************ (C) COPYRIGHT STMicroelectronics *****END OF FILE****/
